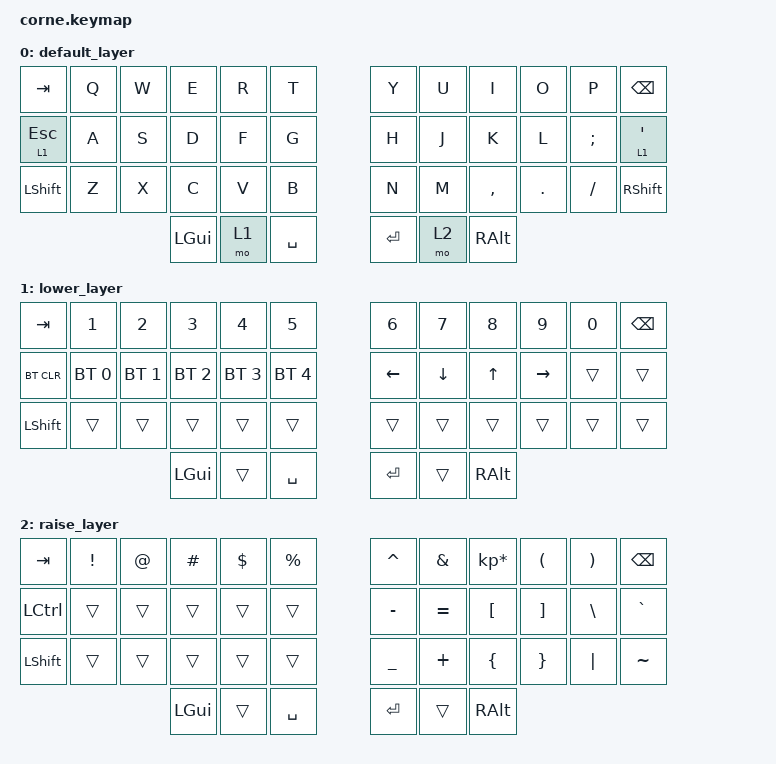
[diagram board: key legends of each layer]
/*
 * Copyright (c) 2020 The ZMK Contributors
 *
 * SPDX-License-Identifier: MIT
 */

#include <behaviors.dtsi>
#include <dt-bindings/zmk/bt.h>
#include <dt-bindings/zmk/keys.h>

/ {
    combos {
        compatible = "zmk,combos";

        lctrl {
            bindings = <&kp LCTRL>;
            key-positions = <16 15>;
        };

        rctrl {
            bindings = <&kp RCTRL>;
            key-positions = <19 20>;
        };

        lmeta {
            bindings = <&kp LEFT_META>;
            key-positions = <16 14>;
        };

        rmeta {
            bindings = <&kp LEFT_META>;
            key-positions = <19 21>;
        };

        lalt {
            bindings = <&kp LALT>;
            key-positions = <16 13>;
        };

        ralt {
            bindings = <&kp LALT>;
            key-positions = <19 22>;
        };
    };

    keymap {
        compatible = "zmk,keymap";

        default_layer {
            // -----------------------------------------------------------------------------------------
            // |  TAB |  Q  |  W  |  E  |  R  |  T  |   |  Y  |  U   |  I  |  O  |  P  | BKSP |
            // | CTRL |  A  |  S  |  D  |  F  |  G  |   |  H  |  J   |  K  |  L  |  ;  |  '   |
            // | SHFT |  Z  |  X  |  C  |  V  |  B  |   |  N  |  M   |  ,  |  .  |  /  | ESC  |
            //                    | GUI | LWR | SPC |   | ENT | RSE  | ALT |

            bindings = <
&kp TAB       &kp Q  &kp W  &kp E     &kp R  &kp T        &kp Y    &kp U  &kp I      &kp O    &kp P     &kp BSPC
&lt 1 ESCAPE  &kp A  &kp S  &kp D     &kp F  &kp G        &kp H    &kp J  &kp K      &kp L    &kp SEMI  &lt 1 SQT
&kp LSHFT     &kp Z  &kp X  &kp C     &kp V  &kp B        &kp N    &kp M  &kp COMMA  &kp DOT  &kp FSLH  &kp RIGHT_SHIFT
                            &kp LGUI  &mo 1  &kp SPACE    &kp RET  &mo 2  &kp RALT
            >;
        };

        lower_layer {
            // -----------------------------------------------------------------------------------------
            // |  TAB |  1  |  2  |  3  |  4  |  5  |   |  6  |  7  |  8  |  9  |  0  | BKSP |
            // | BTCLR| BT1 | BT2 | BT3 | BT4 | BT5 |   | LFT | DWN |  UP | RGT |     |      |
            // | SHFT |     |     |     |     |     |   |     |     |     |     |     |      |
            //                    | GUI |     | SPC |   | ENT |     | ALT |

            bindings = <
&kp TAB     &kp N1        &kp N2        &kp N3        &kp N4        &kp N5          &kp N6    &kp N7    &kp N8    &kp N9     &kp N0  &kp BSPC
&bt BT_CLR  &bt BT_SEL 0  &bt BT_SEL 1  &bt BT_SEL 2  &bt BT_SEL 3  &bt BT_SEL 4    &kp LEFT  &kp DOWN  &kp UP    &kp RIGHT  &trans  &trans
&kp LSHFT   &trans        &trans        &trans        &trans        &trans          &trans    &trans    &trans    &trans     &trans  &trans
                                        &kp LGUI      &trans        &kp SPACE       &kp RET   &trans    &kp RALT
            >;
        };

        raise_layer {
            // -----------------------------------------------------------------------------------------
            // |  TAB |  !  |  @  |  #  |  $  |  %  |   |  ^  |  &  |  *  |  (  |  )  | BKSP |
            // | CTRL |     |     |     |     |     |   |  -  |  =  |  [  |  ]  |  \  |  `   |
            // | SHFT |     |     |     |     |     |   |  _  |  +  |  {  |  }  | "|" |  ~   |
            //                    | GUI |     | SPC |   | ENT |     | ALT |

            bindings = <
&kp TAB    &kp EXCL  &kp AT  &kp HASH  &kp DLLR  &kp PRCNT    &kp CARET  &kp AMPS   &kp KP_MULTIPLY  &kp LPAR  &kp RPAR  &kp BSPC
&kp LCTRL  &trans    &trans  &trans    &trans    &trans       &kp MINUS  &kp EQUAL  &kp LBKT         &kp RBKT  &kp BSLH  &kp GRAVE
&kp LSHFT  &trans    &trans  &trans    &trans    &trans       &kp UNDER  &kp PLUS   &kp LBRC         &kp RBRC  &kp PIPE  &kp TILDE
                             &kp LGUI  &trans    &kp SPACE    &kp RET    &trans     &kp RALT
            >;
        };
    };
};
